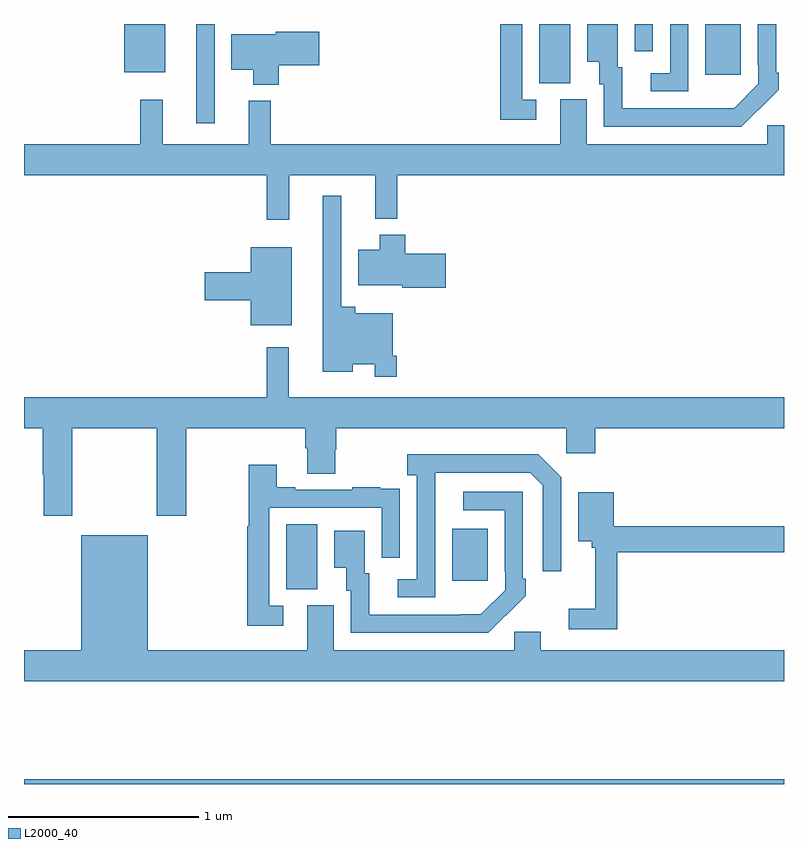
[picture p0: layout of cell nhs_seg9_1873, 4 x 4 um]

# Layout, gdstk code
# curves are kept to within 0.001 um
import gdstk
lib = gdstk.Library(unit=1e-6, precision=1e-09)
def R(c, l, rs):  # rectangles x0, y0, x1, y1
    for r in rs: c.add(gdstk.rectangle(r[:2], r[2:], *l))
def P(c, l, *ps):  # polygons
    for p in ps: c.add(gdstk.Polygon(p, *l))
L2000_40 = (2000, 40)

nhs_seg9_1873 = lib.new_cell('nhs_seg9_1873')
R(nhs_seg9_1873, L2000_40, [(215,1242.5,219,1242.524), (216.38,1243.525,216.544,1243.868), (217.253,1243.569,217.441,1243.843), (215.906,1245.978,216.003,1246.5), (217.712,1246.189,217.876,1246.5), (218.585,1246.233,218.773,1246.5), (215.528,1246.247,215.743,1246.5), (218.214,1246.356,218.31,1246.5)])
P(nhs_seg9_1873, L2000_40, [(217.696,1246.101),(217.623,1246.101),(217.623,1246.5),(217.507,1246.5),(217.507,1245.996),(217.696,1245.996)],
  [(218.867,1246.051),(218.868,1246.05),(218.973,1246.155),(218.973,1246.243),(218.958,1246.243),(218.958,1246.5),(218.862,1246.5),(218.862,1246.285),(218.865,1246.285),(218.865,1246.185),(218.737,1246.057),(218.633,1246.056),(218.149,1246.056),(218.149,1246.272),(218.125,1246.272),(218.125,1246.498),(217.964,1246.498),(217.964,1246.301),(218.027,1246.301),(218.027,1246.182),(218.052,1246.182),(218.052,1245.96),(218.776,1245.96)],
  [(218.496,1246.5),(218.4,1246.5),(218.4,1246.242),(218.298,1246.242),(218.298,1246.146),(218.496,1246.146)],
  [(216.341,1246.282),(216.553,1246.282),(216.553,1246.46),(216.324,1246.46),(216.324,1246.447),(216.092,1246.447),(216.092,1246.259),(216.206,1246.259),(216.206,1246.181),(216.341,1246.181)],
  [(216.395,1245.704),(216.848,1245.704),(216.848,1245.476),(216.965,1245.476),(216.965,1245.704),(219,1245.704),(219,1245.966),(218.913,1245.966),(218.913,1245.868),(217.963,1245.868),(217.963,1246.104),(217.823,1246.104),(217.823,1245.868),(216.299,1245.868),(216.299,1246.096),(216.182,1246.096),(216.182,1245.868),(215.729,1245.868),(215.729,1246.102),(215.611,1246.102),(215.611,1245.868),(215,1245.868),(215,1245.704),(216.277,1245.704),(216.277,1245.471),(216.395,1245.471)],
  [(216.962,1244.755),(216.942,1244.755),(216.942,1244.977),(216.743,1244.977),(216.743,1245.013),(216.669,1245.013),(216.669,1245.595),(216.572,1245.595),(216.572,1244.669),(216.73,1244.669),(216.73,1244.708),(216.846,1244.708),(216.846,1244.643),(216.962,1244.643)],
  [(217.219,1245.291),(217.007,1245.291),(217.007,1245.391),(216.872,1245.391),(216.872,1245.313),(216.758,1245.313),(216.758,1245.125),(216.99,1245.125),(216.99,1245.113),(217.219,1245.113)],
  [(216.409,1245.325),(216.194,1245.325),(216.194,1245.194),(215.952,1245.194),(215.952,1245.047),(216.194,1245.047),(216.194,1244.915),(216.409,1244.915)],
  [(215.253,1244.372),(215.698,1244.372),(215.698,1243.911),(215.853,1243.911),(215.853,1244.372),(216.479,1244.372),(216.479,1244.266),(216.491,1244.266),(216.491,1244.134),(216.639,1244.134),(216.639,1244.259),(216.644,1244.259),(216.644,1244.372),(217.854,1244.372),(217.854,1244.241),(218.006,1244.241),(218.006,1244.372),(219,1244.372),(219,1244.536),(216.394,1244.536),(216.394,1244.8),(216.277,1244.8),(216.277,1244.536),(215,1244.536),(215,1244.372),(215.098,1244.372),(215.098,1244.128),(215.105,1244.128),(215.105,1243.911),(215.253,1243.911)],
  [(217.164,1243.939),(217.165,1244.139),(217.665,1244.139),(217.731,1244.073),(217.731,1243.62),(217.827,1243.62),(217.827,1244.115),(217.706,1244.236),(217.017,1244.236),(217.017,1244.126),(217.068,1244.126),(217.068,1243.578),(216.966,1243.578),(216.966,1243.482),(217.164,1243.482)],
  [(216.364,1243.437),(216.291,1243.437),(216.291,1243.953),(216.882,1243.953),(216.882,1243.692),(216.978,1243.692),(216.978,1243.946),(216.977,1243.946),(216.977,1244.055),(216.875,1244.055),(216.875,1244.062),(216.727,1244.062),(216.727,1244.049),(216.427,1244.049),(216.427,1244.062),(216.331,1244.062),(216.331,1244.179),(216.183,1244.179),(216.183,1243.856),(216.175,1243.856),(216.175,1243.332),(216.364,1243.332)],
  [(217.535,1243.387),(217.536,1243.386),(217.641,1243.491),(217.641,1243.579),(217.626,1243.579),(217.626,1244.037),(217.311,1244.037),(217.311,1243.941),(217.53,1243.941),(217.53,1243.621),(217.533,1243.621),(217.533,1243.521),(217.405,1243.393),(216.817,1243.392),(216.817,1243.608),(216.793,1243.608),(216.793,1243.834),(216.632,1243.834),(216.632,1243.637),(216.695,1243.637),(216.695,1243.518),(216.72,1243.518),(216.72,1243.296),(217.444,1243.296)],
  [(218.123,1243.72),(219,1243.72),(219,1243.856),(218.104,1243.856),(218.104,1244.035),(217.916,1244.035),(217.916,1243.778),(217.988,1243.778),(217.988,1243.743),(218.006,1243.743),(218.006,1243.423),(217.866,1243.423),(217.866,1243.314),(218.123,1243.314)],
  [(219,1243.204),(217.72,1243.204),(217.72,1243.302),(217.581,1243.302),(217.581,1243.204),(216.631,1243.204),(216.631,1243.44),(216.491,1243.44),(216.491,1243.204),(215.65,1243.204),(215.65,1243.81),(215.3,1243.81),(215.3,1243.204),(215,1243.204),(215,1243.04),(219,1243.04)])

lib.write_gds('nhs_seg9_1873.gds')
